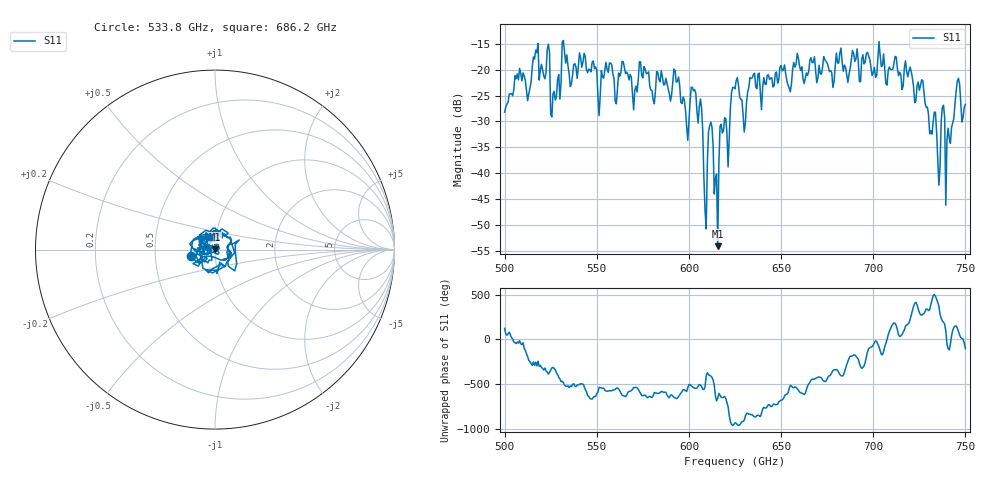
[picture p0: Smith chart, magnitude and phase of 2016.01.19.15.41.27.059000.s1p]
!Created with skrf (http://scikit-rf.org).
# GHz S RI R 50.0
!freq ReS11 ImS11
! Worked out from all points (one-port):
!   401 points, 500 GHz to 750 GHz, reference 50 ohm
!   lowest |S11| = -54.1 dB at 615.6 GHz (marker M1), VSWR 1.00, Z = 50.1 + j0.171 ohm
!   |S11| at or under -10 dB: start of sweep to end of sweep
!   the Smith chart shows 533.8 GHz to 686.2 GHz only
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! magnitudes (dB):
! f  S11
! 500 GHz  -28.2
! 513.1 GHz  -24.6
! 516.9 GHz  -16.2
! 523.1 GHz  -16.1
! 526.2 GHz  -24.7
! 531.2 GHz  -14.7
! 562.5 GHz  -21.3
! 593.8 GHz  -22.3
! 598.8 GHz  -30.8
! 602.5 GHz  -24.1
! 606.2 GHz  -25.7
! 608.8 GHz  -47.3
! 611.9 GHz  -30.1
! 614.4 GHz  -41.0
! 615.6 GHz  -54.1
! 618.1 GHz  -32.2
! 621.2 GHz  -38.8
! 625 GHz  -23.7
! 630 GHz  -32.1
! 634.4 GHz  -21.6
! 656.2 GHz  -20.0
! 687.5 GHz  -19.8
! 718.8 GHz  -21.4
! 735.6 GHz  -42.3
! 737.5 GHz  -27.3
! 740.6 GHz  -31.3
! 745.6 GHz  -22.2
! 750 GHz  -26.7
